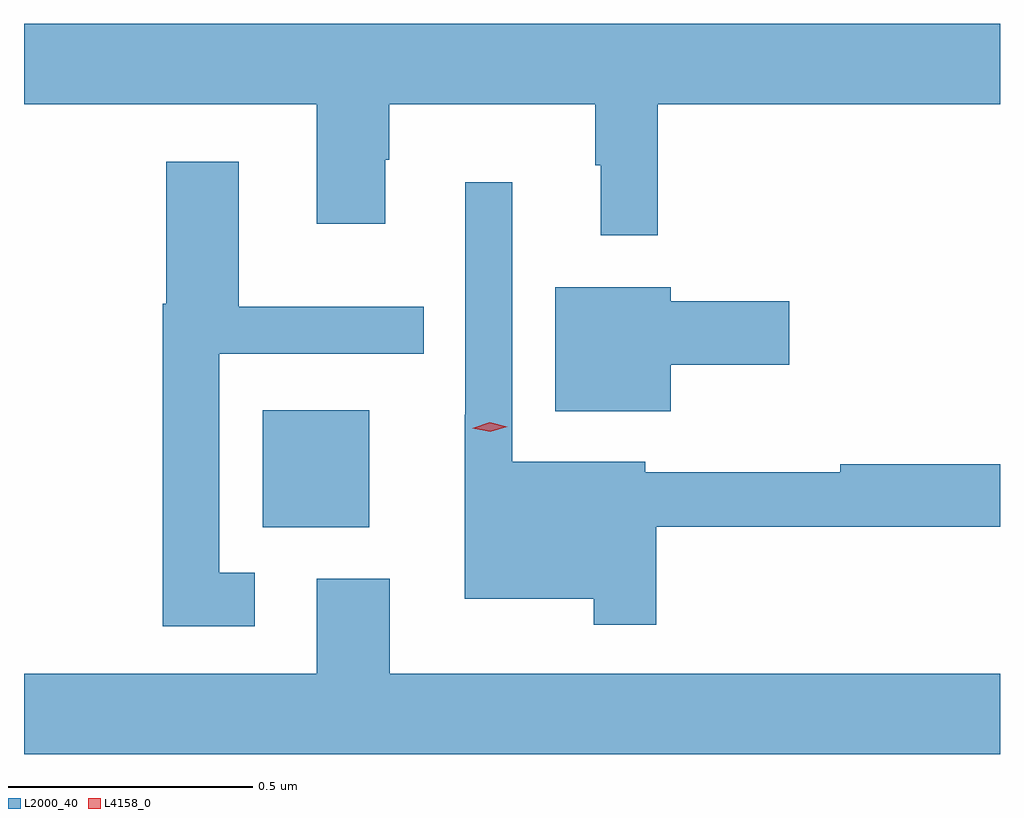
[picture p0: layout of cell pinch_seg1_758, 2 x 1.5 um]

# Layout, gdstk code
import gdstk
lib = gdstk.Library(unit=1e-6, precision=1e-09)
def R(c, l, rs):  # rectangles x0, y0, x1, y1
    for r in rs: c.add(gdstk.rectangle(r[:2], r[2:], *l))
def P(c, l, *ps):  # polygons
    for p in ps: c.add(gdstk.Polygon(p, *l))
L2000_40 = (2000, 40)
L4158_0 = (4158, 0)

pinch_seg1_758 = lib.new_cell('pinch_seg1_758')
R(pinch_seg1_758, L2000_40, [(870.614,514.901,870.832,515.14)])
P(pinch_seg1_758, L2000_40, [(871.424,515.768),(872.125,515.768),(872.125,515.932),(870.125,515.932),(870.125,515.768),(870.725,515.768),(870.725,515.523),(870.865,515.523),(870.865,515.654),(870.873,515.654),(870.873,515.768),(871.296,515.768),(871.296,515.642),(871.307,515.642),(871.307,515.499),(871.424,515.499)],
  [(870.598,514.807),(870.525,514.807),(870.525,515.256),(870.944,515.256),(870.944,515.353),(870.565,515.353),(870.565,515.65),(870.416,515.65),(870.416,515.359),(870.409,515.359),(870.409,514.698),(870.598,514.698)],
  [(871.421,514.902),(872.125,514.902),(872.125,515.03),(871.798,515.03),(871.798,515.013),(871.398,515.013),(871.398,515.035),(871.125,515.035),(871.125,515.608),(871.029,515.608),(871.029,515.131),(871.028,515.131),(871.028,514.754),(871.293,514.754),(871.293,514.701),(871.421,514.701)],
  [(871.45,515.234),(871.693,515.234),(871.693,515.364),(871.45,515.364),(871.45,515.392),(871.214,515.392),(871.214,515.138),(871.45,515.138)],
  [(872.125,514.6),(870.874,514.6),(870.874,514.795),(870.725,514.795),(870.725,514.6),(870.125,514.6),(870.125,514.436),(872.125,514.436)])
P(pinch_seg1_758, L4158_0, [(871.08,515.096),(871.044,515.104),(871.043,515.104),(871.044,515.104),(871.079,515.116),(871.115,515.107),(871.115,515.107),(871.115,515.107)])

lib.write_gds('pinch_seg1_758.gds')
